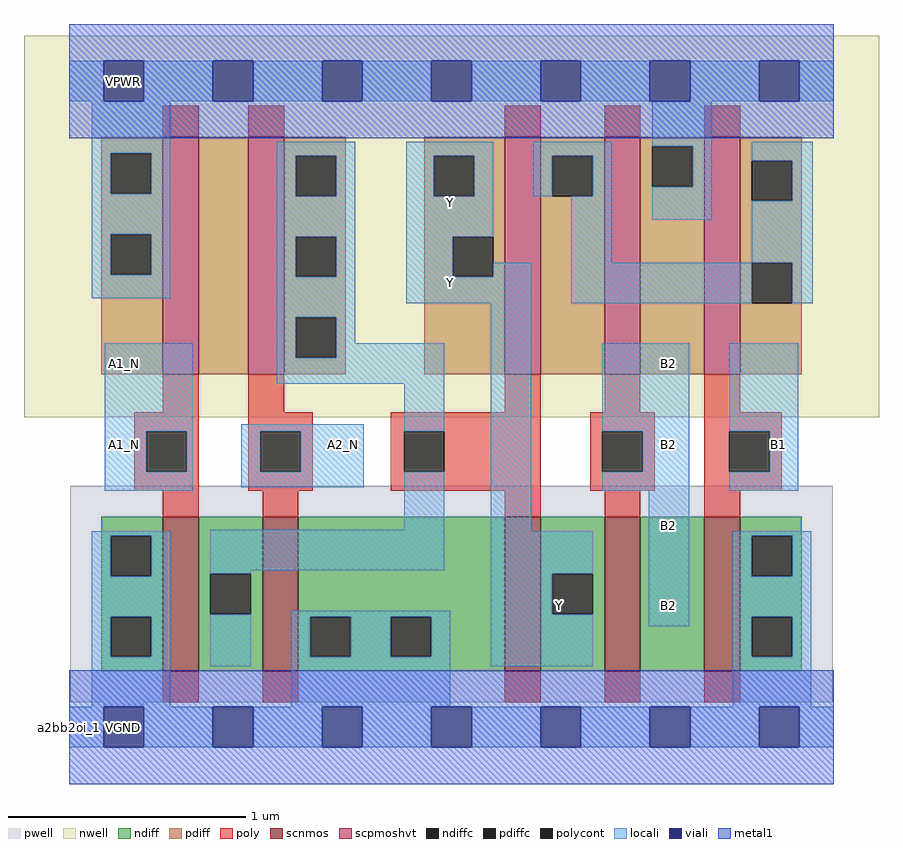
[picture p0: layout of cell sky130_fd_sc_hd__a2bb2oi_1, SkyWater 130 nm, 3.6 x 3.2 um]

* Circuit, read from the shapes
.subckt sky130_fd_sc_hd__a2bb2oi_1 VGND VPWR VPB VNB Y A2_N A1_N B2 B1
XM1 n1 A1_N VGND VNB sky130_fd_pr__nfet_01v8 w=0.65 l=0.15
XM2 VGND A2_N n1 VNB sky130_fd_pr__nfet_01v8 w=0.65 l=0.15
XM3 Y n1 VGND VNB sky130_fd_pr__nfet_01v8 w=0.65 l=0.15
XM4 n2 B2 Y VNB sky130_fd_pr__nfet_01v8 w=0.65 l=0.15
XM5 VGND B1 n2 VNB sky130_fd_pr__nfet_01v8 w=0.65 l=0.15
XM6 n3 A1_N VPWR VPB sky130_fd_pr__pfet_01v8_hvt w=1 l=0.15
XM7 n1 A2_N n3 VPB sky130_fd_pr__pfet_01v8_hvt w=1 l=0.15
XM8 n4 n1 Y VPB sky130_fd_pr__pfet_01v8_hvt w=1 l=0.15
XM9 VPWR B2 n4 VPB sky130_fd_pr__pfet_01v8_hvt w=1 l=0.15
XM10 n4 B1 VPWR VPB sky130_fd_pr__pfet_01v8_hvt w=1 l=0.15
.ends

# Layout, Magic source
magic
tech sky130B
magscale 1 2
<< nwell >>
rect -38 221 682 542
<< pwell >>
rect 1 -19 643 163
rect 29 -57 63 -19
<< scnmos >>
rect 79 7 109 137
rect 163 7 193 137
rect 367 7 397 137
rect 451 7 481 137
rect 535 7 565 137
<< scpmoshvt >>
rect 79 257 109 457
rect 151 257 181 457
rect 367 257 397 457
rect 451 257 481 457
rect 535 257 565 457
<< ndiff >>
rect 27 121 79 137
rect 27 87 35 121
rect 69 87 79 121
rect 27 53 79 87
rect 27 19 35 53
rect 69 19 79 53
rect 27 7 79 19
rect 109 89 163 137
rect 109 55 119 89
rect 153 55 163 89
rect 109 7 163 55
rect 193 53 367 137
rect 193 19 203 53
rect 237 19 271 53
rect 305 19 367 53
rect 193 7 367 19
rect 397 89 451 137
rect 397 55 407 89
rect 441 55 451 89
rect 397 7 451 55
rect 481 7 535 137
rect 565 121 617 137
rect 565 87 575 121
rect 609 87 617 121
rect 565 53 617 87
rect 565 19 575 53
rect 609 19 617 53
rect 565 7 617 19
<< pdiff >>
rect 27 443 79 457
rect 27 409 35 443
rect 69 409 79 443
rect 27 375 79 409
rect 27 341 35 375
rect 69 341 79 375
rect 27 257 79 341
rect 109 257 151 457
rect 181 441 233 457
rect 181 407 191 441
rect 225 407 233 441
rect 181 373 233 407
rect 181 339 191 373
rect 225 339 233 373
rect 181 305 233 339
rect 181 271 191 305
rect 225 271 233 305
rect 181 257 233 271
rect 299 441 367 457
rect 299 407 307 441
rect 341 407 367 441
rect 299 373 367 407
rect 299 339 323 373
rect 357 339 367 373
rect 299 257 367 339
rect 397 441 451 457
rect 397 407 407 441
rect 441 407 451 441
rect 397 257 451 407
rect 481 449 535 457
rect 481 415 491 449
rect 525 415 535 449
rect 481 257 535 415
rect 565 437 617 457
rect 565 403 575 437
rect 609 403 617 437
rect 565 351 617 403
rect 565 317 575 351
rect 609 317 617 351
rect 565 257 617 317
<< ndiffc >>
rect 35 87 69 121
rect 35 19 69 53
rect 119 55 153 89
rect 203 19 237 53
rect 271 19 305 53
rect 407 55 441 89
rect 575 87 609 121
rect 575 19 609 53
<< pdiffc >>
rect 35 409 69 443
rect 35 341 69 375
rect 191 407 225 441
rect 191 339 225 373
rect 191 271 225 305
rect 307 407 341 441
rect 323 339 357 373
rect 407 407 441 441
rect 491 415 525 449
rect 575 403 609 437
rect 575 317 609 351
<< poly >>
rect 79 457 109 483
rect 151 457 181 483
rect 367 457 397 483
rect 451 457 481 483
rect 535 457 565 483
rect 79 225 109 257
rect 55 209 109 225
rect 55 175 65 209
rect 99 175 109 209
rect 55 159 109 175
rect 151 225 181 257
rect 367 225 397 257
rect 451 225 481 257
rect 535 225 565 257
rect 151 209 205 225
rect 151 175 161 209
rect 195 175 205 209
rect 151 159 205 175
rect 271 209 397 225
rect 271 175 282 209
rect 316 175 397 209
rect 271 159 397 175
rect 439 209 493 225
rect 439 175 449 209
rect 483 175 493 209
rect 439 159 493 175
rect 535 209 600 225
rect 535 175 556 209
rect 590 175 600 209
rect 535 159 600 175
rect 79 137 109 159
rect 163 137 193 159
rect 367 137 397 159
rect 451 137 481 159
rect 535 137 565 159
rect 79 -19 109 7
rect 163 -19 193 7
rect 367 -19 397 7
rect 451 -19 481 7
rect 535 -19 565 7
<< polycont >>
rect 65 175 99 209
rect 161 175 195 209
rect 282 175 316 209
rect 449 175 483 209
rect 556 175 590 209
<< locali >>
rect 0 487 29 521
rect 63 487 121 521
rect 155 487 213 521
rect 247 487 305 521
rect 339 487 397 521
rect 431 487 489 521
rect 523 487 581 521
rect 615 487 644 521
rect 19 443 85 487
rect 19 409 35 443
rect 69 409 85 443
rect 19 375 85 409
rect 19 341 35 375
rect 69 341 85 375
rect 19 321 85 341
rect 175 441 241 453
rect 175 407 191 441
rect 225 407 241 441
rect 175 373 241 407
rect 175 339 191 373
rect 225 339 241 373
rect 175 305 241 339
rect 284 441 357 453
rect 284 407 307 441
rect 341 407 357 441
rect 391 441 457 453
rect 391 407 407 441
rect 441 407 457 441
rect 284 373 357 407
rect 284 339 323 373
rect 423 351 457 407
rect 491 449 541 487
rect 525 415 541 449
rect 491 387 541 415
rect 575 437 626 453
rect 609 403 626 437
rect 575 351 626 403
rect 357 339 389 351
rect 284 317 389 339
rect 423 317 575 351
rect 609 317 626 351
rect 30 209 104 283
rect 175 271 191 305
rect 225 283 241 305
rect 225 271 316 283
rect 175 249 316 271
rect 30 175 65 209
rect 99 175 104 209
rect 30 159 104 175
rect 145 209 248 215
rect 145 175 161 209
rect 195 175 248 209
rect 145 162 248 175
rect 282 209 316 249
rect 282 126 316 175
rect 19 121 85 125
rect 19 87 35 121
rect 69 87 85 121
rect 19 53 85 87
rect 19 19 35 53
rect 69 19 85 53
rect 19 -23 85 19
rect 119 92 316 126
rect 355 125 389 317
rect 449 209 522 283
rect 483 175 522 209
rect 449 159 522 175
rect 556 209 614 283
rect 590 175 614 209
rect 556 159 614 175
rect 119 89 153 92
rect 355 89 441 125
rect 119 11 153 55
rect 187 53 321 58
rect 187 19 203 53
rect 237 19 271 53
rect 305 19 321 53
rect 187 -23 321 19
rect 355 55 407 89
rect 355 11 441 55
rect 488 45 522 159
rect 559 121 625 125
rect 559 87 575 121
rect 609 87 625 121
rect 559 53 625 87
rect 559 19 575 53
rect 609 19 625 53
rect 559 -23 625 19
rect 0 -57 29 -23
rect 63 -57 121 -23
rect 155 -57 213 -23
rect 247 -57 305 -23
rect 339 -57 397 -23
rect 431 -57 489 -23
rect 523 -57 581 -23
rect 615 -57 644 -23
<< viali >>
rect 29 487 63 521
rect 121 487 155 521
rect 213 487 247 521
rect 305 487 339 521
rect 397 487 431 521
rect 489 487 523 521
rect 581 487 615 521
rect 29 -57 63 -23
rect 121 -57 155 -23
rect 213 -57 247 -23
rect 305 -57 339 -23
rect 397 -57 431 -23
rect 489 -57 523 -23
rect 581 -57 615 -23
<< metal1 >>
rect 0 521 644 552
rect 0 487 29 521
rect 63 487 121 521
rect 155 487 213 521
rect 247 487 305 521
rect 339 487 397 521
rect 431 487 489 521
rect 523 487 581 521
rect 615 487 644 521
rect 0 456 644 487
rect 0 -23 644 8
rect 0 -57 29 -23
rect 63 -57 121 -23
rect 155 -57 213 -23
rect 247 -57 305 -23
rect 339 -57 397 -23
rect 431 -57 489 -23
rect 523 -57 581 -23
rect 615 -57 644 -23
rect 0 -88 644 -57
<< labels >>
rlabel comment s 0 -40 0 -40 4 a2bb2oi_1
flabel metal1 s 29 -57 63 -23 0 FreeSans 200 0 0 0 VGND
port 2 nsew
flabel metal1 s 29 487 63 521 0 FreeSans 200 0 0 0 VPWR
port 3 nsew
flabel nwell s 29 487 63 521 0 FreeSans 200 0 0 0 VPB
port 5 nsew
flabel pwell s 29 -57 63 -23 0 FreeSans 200 0 0 0 VNB
port 6 nsew
flabel locali s 30 249 64 283 0 FreeSans 200 0 0 0 A1_N
port 9 nsew
flabel locali s 30 181 64 215 0 FreeSans 200 0 0 0 A1_N
port 9 nsew
flabel locali s 304 385 338 419 0 FreeSans 200 0 0 0 Y
port 7 nsew
flabel locali s 304 317 338 351 0 FreeSans 200 0 0 0 Y
port 7 nsew
flabel locali s 396 45 430 79 0 FreeSans 200 0 0 0 Y
port 7 nsew
flabel locali s 29 -57 63 -23 0 FreeSans 200 0 0 0 VGND
port 2 nsew
flabel locali s 29 487 63 521 0 FreeSans 200 0 0 0 VPWR
port 3 nsew
flabel locali s 488 45 522 79 0 FreeSans 200 0 0 0 B2
port 10 nsew
flabel locali s 488 113 522 147 0 FreeSans 200 0 0 0 B2
port 10 nsew
flabel locali s 488 181 522 215 0 FreeSans 200 0 0 0 B2
port 10 nsew
flabel locali s 488 249 522 283 0 FreeSans 200 0 0 0 B2
port 10 nsew
flabel locali s 580 181 614 215 0 FreeSans 200 0 0 0 B1
port 11 nsew
flabel locali s 214 181 248 215 0 FreeSans 200 0 0 0 A2_N
port 8 nsew
<< properties >>
string FIXED_BBOX 0 -40 644 504
string path 0.000 -1.000 16.100 -1.000 
<< end >>
